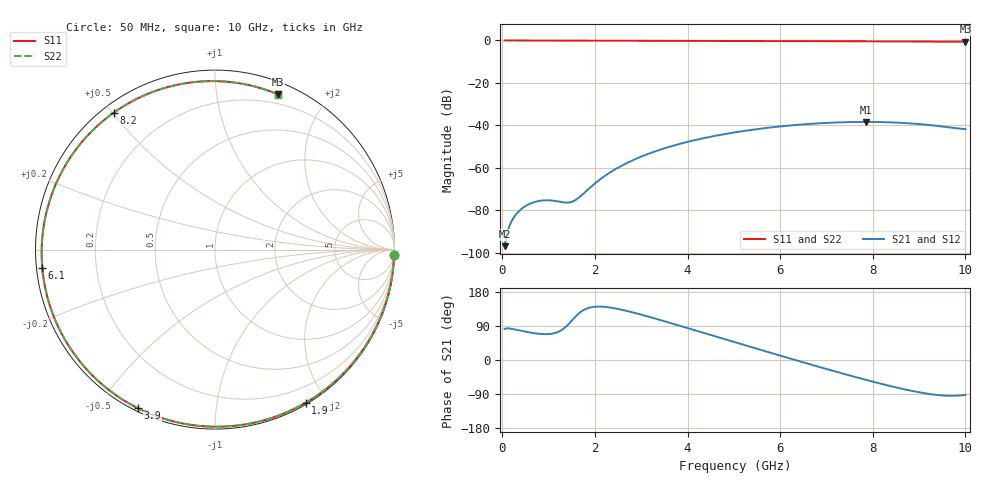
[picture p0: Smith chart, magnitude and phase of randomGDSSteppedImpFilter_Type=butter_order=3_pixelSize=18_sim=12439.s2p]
! freq	dB(S11)	phase(S11)	dB(S12)	phase(S12)
!  dB(S21)	phase(S21)	dB(S22)	phase(S22)
!S-par simulation data
#  GHz  S  DB  R 50
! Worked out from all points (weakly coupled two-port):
!   200 points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, 50 MHz to 10 GHz, reference 50 ohm
!   highest |S21| = -38.38 dB at 7.85 GHz (marker M1); lowest = -96.9 dB at 50 MHz (marker M2)
!   lowest |S11| = -0.6 dB at 10 GHz (marker M3), VSWR 28.89, Z = 5.54 + j74.1 ohm
!   |S11| at or under -10 dB: nowhere
!   |S22| runs from -0.6 to 0.0 dB; largest |S21 - S12| = 0
!   S11 on the Smith chart (normalised r, x): 50 MHz: 4, -69; 1.9 GHz: 0.02, -1.75; 3.9 GHz: 0.01, -0.63; 6.1 GHz: 0.02, -0.05; 8.2 GHz: 0.03, +0.50; 10 GHz: 0.11, +1.48
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0.05  -0.02 -1.6  -96.89 82.1  -96.89 82.1  -0.02 -1.6
0.35  -0.02 -11.2  -80.63 78.5  -80.63 78.5  -0.02 -11.2
0.6  -0.03 -19.2  -76.89 72.4  -76.89 72.4  -0.03 -19.2
0.85  -0.03 -27.1  -75.41 68.5  -75.41 68.5  -0.03 -27.1
1.45  -0.06 -45.8  -76.29 97.1  -76.29 97.1  -0.06 -45.8
1.6  -0.06 -50.3  -74.90 117.0  -74.90 117.0  -0.06 -50.3
1.75  -0.07 -54.9  -72.22 131.5  -72.22 131.5  -0.07 -54.9
1.9  -0.08 -59.4  -69.25 138.8  -69.25 138.8  -0.08 -59.4
2.2  -0.09 -68.3  -64.04 140.4  -64.04 140.4  -0.09 -68.3
2.55  -0.10 -78.4  -59.32 133.4  -59.32 133.4  -0.10 -78.5
3.4  -0.13 -102.3  -51.52 105.9  -51.52 105.9  -0.13 -102.3
3.9  -0.15 -115.9  -48.33 87.9  -48.33 87.9  -0.15 -115.9
5.05  -0.21 -146.3  -43.19 45.9  -43.19 45.9  -0.21 -146.3
5.6  -0.25 -160.7  -41.49 25.9  -41.49 25.9  -0.25 -160.7
6.1  -0.29 -173.9  -40.28 8.0  -40.28 8.0  -0.29 -173.9
6.7  -0.33 169.8  -39.22 -13.3  -39.22 -13.3  -0.33 169.8
7.25  -0.37 154.5  -38.61 -32.4  -38.61 -32.4  -0.37 154.5
7.85  -0.42 137.0  -38.38 -52.4  -38.38 -52.4  -0.43 137.0
8.2  -0.46 126.4  -38.46 -63.4  -38.46 -63.4  -0.46 126.4
8.35  -0.47 121.8  -38.56 -67.9  -38.56 -67.9  -0.47 121.8
9.2  -0.54 94.6  -39.79 -89.3  -39.79 -89.3  -0.54 94.5
10  -0.60 67.8  -41.75 -92.1  -41.75 -92.1  -0.60 67.8
